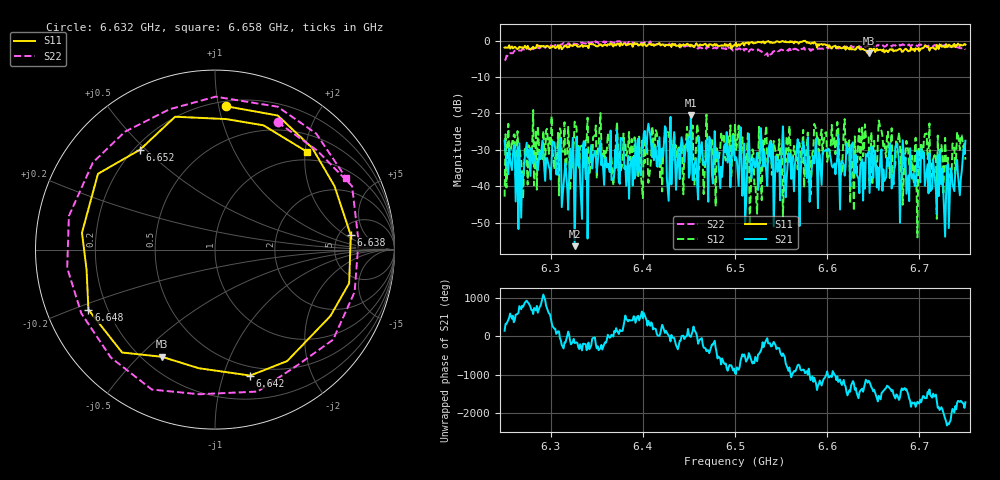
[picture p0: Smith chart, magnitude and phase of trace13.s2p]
# Hz S RI R 50
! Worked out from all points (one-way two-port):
!   401 points, 6.25 GHz to 6.75 GHz, reference 50 ohm
!   highest |S21| = -20.51 dB at 6.452 GHz (marker M1); lowest = -56.4 dB at 6.326 GHz (marker M2)
!   lowest |S11| = -3.5 dB at 6.645 GHz (marker M3), VSWR 5.00, Z = 13.7 - j29.3 ohm
!   |S11| at or under -10 dB: nowhere
!   |S22| runs from -5.5 to 0.0 dB; largest |S21 - S12| = 0.13
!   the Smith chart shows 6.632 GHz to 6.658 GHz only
!   S11 on the Smith chart (normalised r, x): 6.632 GHz: 0.24, +1.05; 6.638 GHz: 6.39, +2.46; 6.642 GHz: 0.41, -1.23; 6.648 GHz: 0.13, -0.22; 6.652 GHz: 0.22, +0.48; 6.658 GHz: 0.83, +2.04
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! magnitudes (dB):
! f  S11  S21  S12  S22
! 6.25 GHz  -1.9  -27.5  -42.9  -5.5
! 6.256 GHz  -2.2  -32.8  -31.5  -3.5
! 6.268 GHz  -1.9  -48.6  -32.8  -2.8
! 6.274 GHz  -2.3  -28.0  -31.2  -2.5
! 6.326 GHz  -1.2  -56.4  -22.3  -0.9
! 6.334 GHz  -1.2  -49.0  -28.8  -0.6
! 6.418 GHz  -0.7  -26.5  -33.3  -0.8
! 6.452 GHz  -1.1  -20.5  -33.0  -1.6
! 6.5 GHz  -1.4  -32.9  -23.1  -2.2
! 6.51 GHz  -1.4  -28.3  -32.7  -2.7
! 6.522 GHz  -0.7  -34.8  -39.2  -2.7
! 6.584 GHz  -0.6  -33.3  -30.8  -2.4
! 6.632 GHz  -1.9  -36.7  -36.9  -2.0
! 6.638 GHz  -2.4  -32.6  -23.9  -1.8
! 6.642 GHz  -2.7  -31.1  -26.5  -1.8
! 6.645 GHz  -3.5  -30.5  -26.1  -1.6
! 6.648 GHz  -2.2  -29.1  -25.1  -1.6
! 6.652 GHz  -3.1  -30.2  -32.9  -1.7
! 6.658 GHz  -2.5  -31.1  -24.2  -1.6
! 6.668 GHz  -2.5  -28.2  -37.7  -1.2
! 6.73 GHz  -1.8  -34.4  -38.1  -1.7
! 6.75 GHz  -1.2  -27.5  -32.7  -2.5
